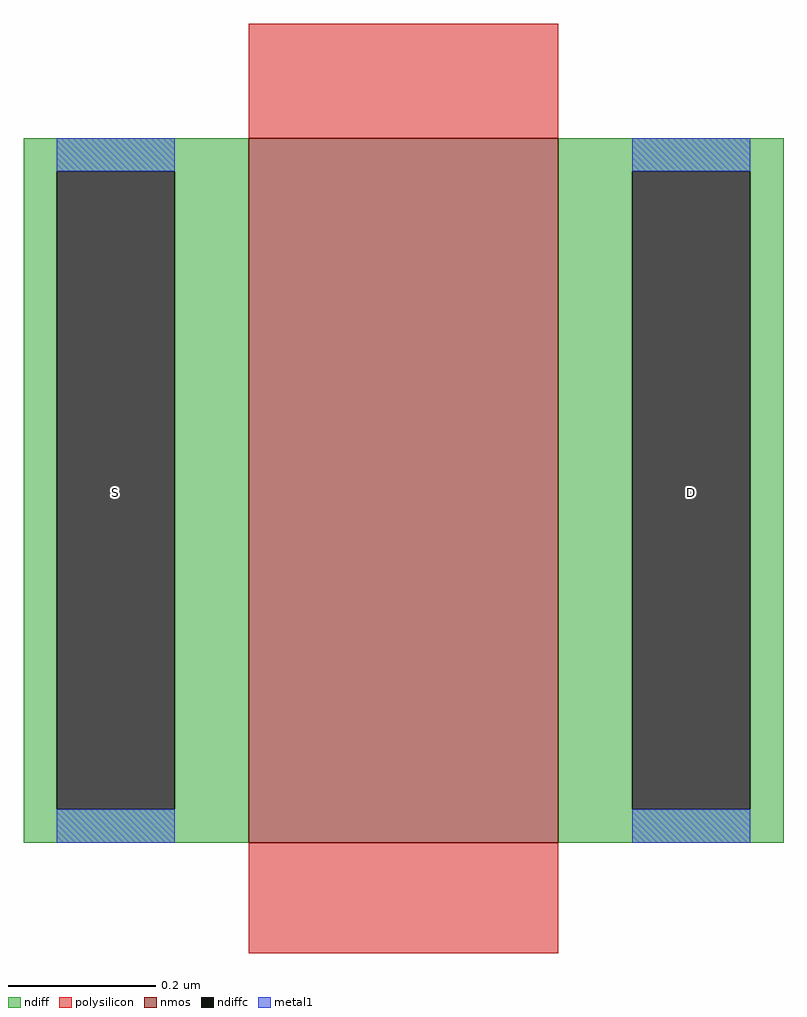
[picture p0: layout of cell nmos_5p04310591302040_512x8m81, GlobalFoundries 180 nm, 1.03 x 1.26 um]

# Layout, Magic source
magic
tech gf180mcuD
magscale 1 10
<< nmos >>
rect 0 0 84 191
<< ndiff >>
rect -61 182 0 191
rect -61 9 -52 182
rect -20 9 0 182
rect -61 0 0 9
rect 84 182 145 191
rect 84 9 104 182
rect 136 9 145 182
rect 84 0 145 9
<< ndiffc >>
rect -52 9 -20 182
rect 104 9 136 182
<< polysilicon >>
rect 0 191 84 222
rect 0 -30 84 0
<< metal1 >>
rect -52 182 -20 191
rect -52 0 -20 9
rect 104 182 136 191
rect 104 0 136 9
<< labels >>
flabel ndiffc -36 95 -36 95 0 FreeSans 140 0 0 0 S
flabel ndiffc 120 95 120 95 0 FreeSans 140 0 0 0 D
<< end >>
